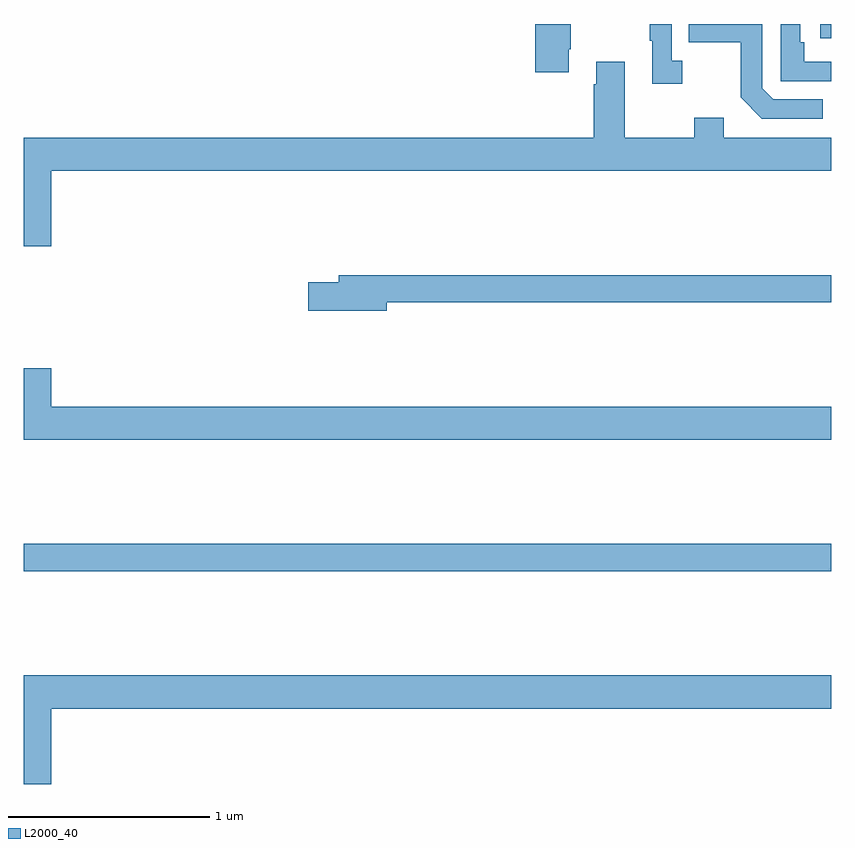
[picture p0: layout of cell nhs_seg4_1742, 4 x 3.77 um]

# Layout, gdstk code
import gdstk
lib = gdstk.Library(unit=1e-6, precision=1e-09)
def R(c, l, rs):  # rectangles x0, y0, x1, y1
    for r in rs: c.add(gdstk.rectangle(r[:2], r[2:], *l))
def P(c, l, *ps):  # polygons
    for p in ps: c.add(gdstk.Polygon(p, *l))
L2000_40 = (2000, 40)

nhs_seg4_1742 = lib.new_cell('nhs_seg4_1742')
R(nhs_seg4_1742, L2000_40, [(201,776.188,205,776.324), (204.945,778.83,205,778.9)])
P(nhs_seg4_1742, L2000_40, [(203.701,778.774),(203.709,778.774),(203.709,778.9),(203.534,778.9),(203.534,778.662),(203.701,778.662)],
  [(205,778.713),(204.866,778.713),(204.866,778.81),(204.846,778.81),(204.846,778.9),(204.75,778.9),(204.75,778.617),(205,778.617)],
  [(204.262,778.718),(204.21,778.718),(204.21,778.9),(204.102,778.9),(204.102,778.817),(204.113,778.817),(204.113,778.605),(204.262,778.605)],
  [(204.958,778.527),(204.714,778.527),(204.66,778.581),(204.66,778.9),(204.295,778.9),(204.295,778.81),(204.552,778.81),(204.552,778.537),(204.657,778.431),(204.958,778.431)],
  [(201.136,778.172),(205,778.172),(205,778.336),(204.469,778.336),(204.469,778.435),(204.322,778.435),(204.322,778.336),(203.977,778.336),(203.977,778.714),(203.837,778.714),(203.837,778.601),(203.825,778.601),(203.825,778.336),(201,778.336),(201,777.798),(201.136,777.798)],
  [(202.798,777.52),(205,777.52),(205,777.656),(202.559,777.656),(202.559,777.62),(202.41,777.62),(202.41,777.478),(202.798,777.478)],
  [(205,777.004),(201.136,777.004),(201.136,777.193),(201,777.193),(201,776.84),(205,776.84)],
  [(201.136,775.508),(205,775.508),(205,775.672),(201,775.672),(201,775.134),(201.136,775.134)])

lib.write_gds('nhs_seg4_1742.gds')
